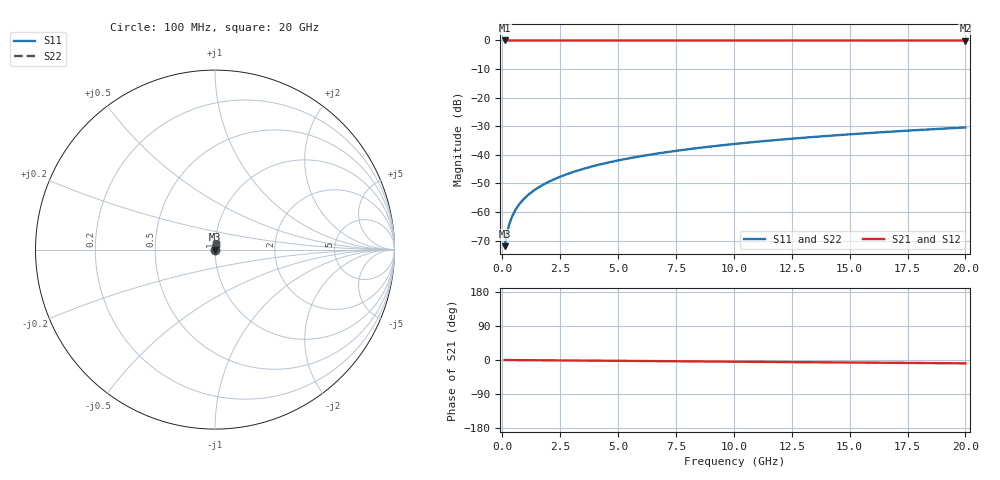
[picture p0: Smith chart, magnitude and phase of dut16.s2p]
! Touchstone file exported from HFSS 2026.1.0
!  File:  C:/ffzhzh/LocalFiles/Ansys_Project_Files/temp_test_TSV_16_1782978304_6388.aedt
!  Generated:  03:46:48 PM Jul  2, 2026
!  Design:  TSV
!  Project:  temp_test_TSV_16_1782978304_6388
! Variables:
!  h_bsmrdl = 2um
!  h_ox = 20um
!  h_rdl = 5um
!  h_sub = 86.01um
!  h_tmrdl = 5um
!  h_tsv = 86.01um
!  h_via = 3um
!  l_bsmrdl = 300um
!  l_sub = 417.82um
!  l_tmrdl = 200um
!  m_sub = 200um
!  pitch = 45.85um
!  r_tsv = 8.91um
!  s_tmrdl = 10um
!  w_bsmrdl = 18um
!  w_sub = 500um
!  w_tmrdl = 12um
!  x_tsv_center1 = 206um
!  x_tsv_center2 = 524um
!  x_tsv_center3 = 736um
!  x_tsv_center4 = 1054um
!  x_tsv_center5 = 1266um
!  x_tsv_center6 = 1584um
# GHz S MA R 50.000000
! Terminal data exported
! Port[1] = TSV1_1_T1
! Port[2] = TSV1_1_T2
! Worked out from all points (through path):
!   200 points, 100 MHz to 20 GHz, reference 50 ohm
!   highest |S21| = 0.00 dB at 100 MHz (marker M1); lowest = 0.0 dB at 20 GHz (marker M2)
!   group delay of S21, straight-line fit = 1.22 ps
!   lowest |S11| = -71.9 dB at 100 MHz (marker M3), VSWR 1.00, Z = 50 + j0.0196 ohm
!   |S11| at or under -10 dB: start of sweep to end of sweep
!   |S22| runs from -71.9 to -30.4 dB; largest |S21 - S12| = 3.2e-15
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0.1  0.0002527 50.8  0.9998 -0.0  0.9998 -0.0  0.0002527 50.8
! Gamma 0 0 0 0
! Port Impedance 50 0 50 0
0.2  0.0004252 66.2  0.9998 -0.1  0.9998 -0.1  0.0004252 66.2
0.3  0.0006084 71.8  0.9998 -0.1  0.9998 -0.1  0.0006084 71.8
0.4  0.0007907 74.5  0.9998 -0.2  0.9998 -0.2  0.0007907 74.5
0.5  0.0009692 75.9  0.9998 -0.2  0.9998 -0.2  0.0009692 75.9
0.6  0.001143 76.7  0.9997 -0.3  0.9997 -0.3  0.001143 76.7
0.7  0.001313 77.3  0.9997 -0.3  0.9997 -0.3  0.001313 77.3
0.8  0.001479 77.8  0.9997 -0.4  0.9997 -0.4  0.001479 77.8
1  0.001803 78.5  0.9997 -0.5  0.9997 -0.5  0.001803 78.5
1.4  0.002434 79.7  0.9996 -0.6  0.9996 -0.6  0.002434 79.7
1.7  0.002901 80.4  0.9995 -0.8  0.9995 -0.8  0.002901 80.4
2  0.003366 81.0  0.9995 -0.9  0.9995 -0.9  0.003366 81.0
2.7  0.00445 81.8  0.9994 -1.2  0.9994 -1.2  0.00445 81.8
3.5  0.005684 82.3  0.9994 -1.6  0.9994 -1.6  0.005684 82.3
4.2  0.006757 82.5  0.9993 -1.9  0.9993 -1.9  0.006757 82.5
5  0.007975 82.5  0.9992 -2.2  0.9992 -2.2  0.007975 82.5
6.8  0.01069 82.4  0.9991 -3.0  0.9991 -3.0  0.01069 82.4
8.3  0.01293 82.1  0.999 -3.7  0.999 -3.7  0.01293 82.1
10.1  0.01561 81.7  0.9988 -4.5  0.9988 -4.5  0.01561 81.7
13.4  0.02048 80.8  0.9986 -5.9  0.9986 -5.9  0.02048 80.8
16.7  0.02531 79.6  0.9984 -7.4  0.9984 -7.4  0.02531 79.6
20  0.03009 78.4  0.9981 -8.8  0.9981 -8.8  0.03009 78.4
